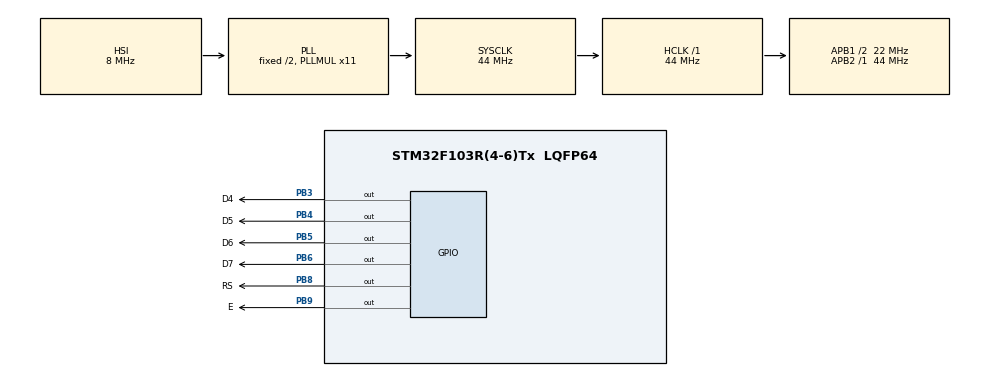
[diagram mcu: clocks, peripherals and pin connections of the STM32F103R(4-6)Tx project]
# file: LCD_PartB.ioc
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Mcu.Family=STM32F1
Mcu.Name=STM32F103R(4-6)Tx
Mcu.Package=LQFP64
NVIC.PriorityGroup=NVIC_PRIORITYGROUP_4
PB3.GPIO_Label=D4
PB3.Signal=GPIO_Output
PB4.GPIO_Label=D5
PB4.Signal=GPIO_Output
PB5.GPIO_Label=D6
PB5.Signal=GPIO_Output
PB6.GPIO_Label=D7
PB6.Signal=GPIO_Output
PB8.GPIO_Label=RS
PB8.Signal=GPIO_Output
PB9.GPIO_Label=E
PB9.Signal=GPIO_Output
ProjectManager.HeapSize=0x200
ProjectManager.StackSize=0x400
ProjectManager.TargetToolchain=STM32CubeIDE
RCC.AHBFreq_Value=44000000
RCC.APB1CLKDivider=RCC_HCLK_DIV2
RCC.APB1Freq_Value=22000000
RCC.APB1TimFreq_Value=44000000
RCC.APB2Freq_Value=44000000
RCC.APB2TimFreq_Value=44000000
RCC.HCLKFreq_Value=44000000
RCC.PLLMUL=RCC_PLL_MUL11
RCC.SYSCLKFreq_VALUE=44000000
RCC.SYSCLKSource=RCC_SYSCLKSOURCE_PLLCLK
RCC.USBFreq_Value=44000000
board=custom

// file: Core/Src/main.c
/* USER CODE BEGIN Header */
/**
  ******************************************************************************
  * @file           : main.c
  * @brief          : Main program body
  ******************************************************************************
  * @attention
  *
  * Copyright (c) 2023 STMicroelectronics.
  * All rights reserved.
  *
  * This software is licensed under terms that can be found in the LICENSE file
  * in the root directory of this software component.
  * If no LICENSE file comes with this software, it is provided AS-IS.
  *
  ******************************************************************************
  */
/* USER CODE END Header */
#include "main.h"
#include "lcd.h"
#include "stdio.h"

void SystemClock_Config(void);
static void MX_GPIO_Init(void);

int main(void)
{

  /* MCU Configuration--------------------------------------------------------*/

  /* Reset of all peripherals, Initializes the Flash interface and the Systick. */
  HAL_Init();

  /* Configure the system clock */
  SystemClock_Config();

  /* Initialize all configured peripherals */
  MX_GPIO_Init();
  /* USER CODE BEGIN 2 */
  Lcd_PortType ports [] = {
  		D4_GPIO_Port, D5_GPIO_Port, D6_GPIO_Port, D7_GPIO_Port
  };
  Lcd_PinType pins [] = {
  		D4_Pin, D5_Pin, D6_Pin, D7_Pin
  };

  Lcd_HandleTypeDef lcd = Lcd_create(ports, pins, RS_GPIO_Port, RS_Pin, E_GPIO_Port, E_Pin, LCD_4_BIT_MODE);

  /* USER CODE END 2 */

  /* Infinite loop */
  /* USER CODE BEGIN WHILE */
  int StNumber = 456;
  float FloatNumber = (float)StNumber/7;
  char String [50];
  while (1)
  {
	  sprintf(String, (char*)"%d" , StNumber);
	  Lcd_cursor(&lcd, 0,0);
	  Lcd_string(&lcd, String);
	  sprintf(String, (char*)"%.4f" , FloatNumber);
	  Lcd_cursor(&lcd, 1,0);
	  Lcd_string(&lcd, String);
    /* USER CODE END WHILE */

  }
}

void SystemClock_Config(void)
{
  RCC_OscInitTypeDef RCC_OscInitStruct = {0};
  RCC_ClkInitTypeDef RCC_ClkInitStruct = {0};

  /** Initializes the RCC Oscillators according to the specified parameters
  * in the RCC_OscInitTypeDef structure.
  */
  RCC_OscInitStruct.OscillatorType = RCC_OSCILLATORTYPE_HSI;
  RCC_OscInitStruct.HSIState = RCC_HSI_ON;
  RCC_OscInitStruct.HSICalibrationValue = RCC_HSICALIBRATION_DEFAULT;
  RCC_OscInitStruct.PLL.PLLState = RCC_PLL_ON;
  RCC_OscInitStruct.PLL.PLLSource = RCC_PLLSOURCE_HSI_DIV2;
  RCC_OscInitStruct.PLL.PLLMUL = RCC_PLL_MUL11;
  if (HAL_RCC_OscConfig(&RCC_OscInitStruct) != HAL_OK)
  {
    Error_Handler();
  }

  /** Initializes the CPU, AHB and APB buses clocks
  */
  RCC_ClkInitStruct.ClockType = RCC_CLOCKTYPE_HCLK|RCC_CLOCKTYPE_SYSCLK
                              |RCC_CLOCKTYPE_PCLK1|RCC_CLOCKTYPE_PCLK2;
  RCC_ClkInitStruct.SYSCLKSource = RCC_SYSCLKSOURCE_PLLCLK;
  RCC_ClkInitStruct.AHBCLKDivider = RCC_SYSCLK_DIV1;
  RCC_ClkInitStruct.APB1CLKDivider = RCC_HCLK_DIV2;
  RCC_ClkInitStruct.APB2CLKDivider = RCC_HCLK_DIV1;

  if (HAL_RCC_ClockConfig(&RCC_ClkInitStruct, FLASH_LATENCY_1) != HAL_OK)
  {
    Error_Handler();
  }
}

static void MX_GPIO_Init(void)
{
  GPIO_InitTypeDef GPIO_InitStruct = {0};

  /* GPIO Ports Clock Enable */
  __HAL_RCC_GPIOB_CLK_ENABLE();

  /*Configure GPIO pin Output Level */
  HAL_GPIO_WritePin(GPIOB, D4_Pin|D5_Pin|D6_Pin|D7_Pin
                          |RS_Pin|E_Pin, GPIO_PIN_RESET);

  /*Configure GPIO pins : D4_Pin D5_Pin D6_Pin D7_Pin
                           RS_Pin E_Pin */
  GPIO_InitStruct.Pin = D4_Pin|D5_Pin|D6_Pin|D7_Pin
                          |RS_Pin|E_Pin;
  GPIO_InitStruct.Mode = GPIO_MODE_OUTPUT_PP;
  GPIO_InitStruct.Pull = GPIO_NOPULL;
  GPIO_InitStruct.Speed = GPIO_SPEED_FREQ_LOW;
  HAL_GPIO_Init(GPIOB, &GPIO_InitStruct);

}

void Error_Handler(void)
{
  __disable_irq();
  while (1)
  {
  }
}
